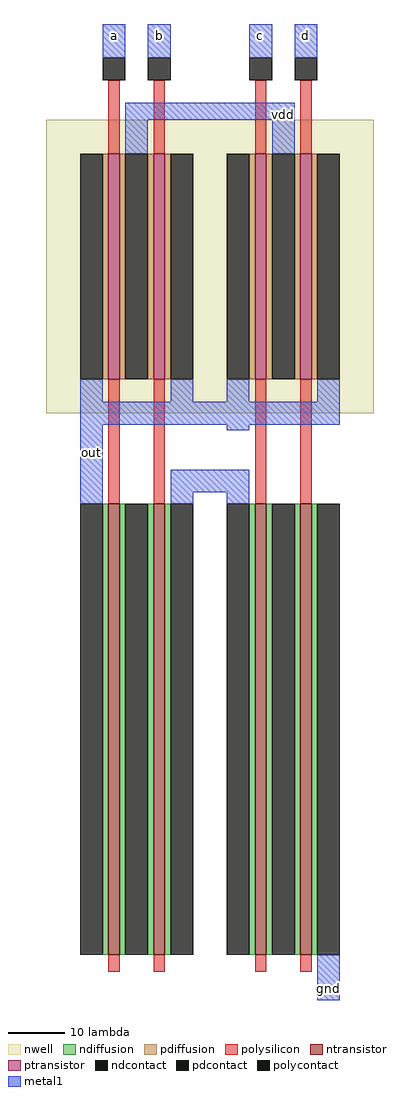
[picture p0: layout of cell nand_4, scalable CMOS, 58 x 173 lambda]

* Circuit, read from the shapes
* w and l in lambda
.subckt nand_4 a b c d gnd out vdd
M1 n1 a out VSUBS nfet w=80 l=2
M2 n2 b n1 VSUBS nfet w=80 l=2
M3 n3 c n2 VSUBS nfet w=80 l=2
M4 gnd d n3 VSUBS nfet w=80 l=2
M5 vdd a out n4 pfet w=40 l=2
M6 out b vdd n4 pfet w=40 l=2
M7 vdd c out n4 pfet w=40 l=2
M8 out d vdd n4 pfet w=40 l=2
.ends

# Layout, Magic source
magic
tech scmos
<< nwell >>
rect -11 71 47 123
<< ntransistor >>
rect 0 -25 2 55
rect 8 -25 10 55
rect 26 -25 28 55
rect 34 -25 36 55
<< ptransistor >>
rect 0 77 2 117
rect 8 77 10 117
rect 26 77 28 117
rect 34 77 36 117
<< ndiffusion >>
rect -1 -25 0 55
rect 2 -25 3 55
rect 7 -25 8 55
rect 10 -25 11 55
rect 25 -25 26 55
rect 28 -25 29 55
rect 33 -25 34 55
rect 36 -25 37 55
<< pdiffusion >>
rect -1 77 0 117
rect 2 77 3 117
rect 7 77 8 117
rect 10 77 11 117
rect 25 77 26 117
rect 28 77 29 117
rect 33 77 34 117
rect 36 77 37 117
<< ndcontact >>
rect -5 -25 -1 55
rect 3 -25 7 55
rect 11 -25 15 55
rect 21 -25 25 55
rect 29 -25 33 55
rect 37 -25 41 55
<< pdcontact >>
rect -5 77 -1 117
rect 3 77 7 117
rect 11 77 15 117
rect 21 77 25 117
rect 29 77 33 117
rect 37 77 41 117
<< polysilicon >>
rect 0 117 2 130
rect 8 117 10 130
rect 26 117 28 130
rect 34 117 36 130
rect 0 55 2 77
rect 8 55 10 77
rect 26 55 28 77
rect 34 55 36 77
rect 0 -28 2 -25
rect 8 -28 10 -25
rect 26 -28 28 -25
rect 34 -28 36 -25
<< polycontact >>
rect -1 130 3 134
rect 7 130 11 134
rect 25 130 29 134
rect 33 130 37 134
<< metal1 >>
rect -1 134 3 140
rect 7 134 11 140
rect 25 134 29 140
rect 33 134 37 140
rect 3 123 33 126
rect 3 117 7 123
rect 29 117 33 123
rect -5 73 -1 77
rect 11 73 15 77
rect 21 73 25 77
rect 37 73 41 77
rect -5 69 41 73
rect -5 55 -1 69
rect 21 68 25 69
rect 11 57 25 61
rect 11 55 15 57
rect 21 55 25 57
rect 37 -33 41 -25
<< labels >>
rlabel metal1 7 136 11 140 5 b
rlabel metal1 -1 136 3 140 5 a
rlabel metal1 -5 62 -1 66 1 out
rlabel metal1 29 122 33 126 1 vdd
rlabel metal1 37 -33 41 -29 1 gnd
rlabel metal1 25 136 29 140 5 c
rlabel metal1 33 136 37 140 5 d
<< end >>
